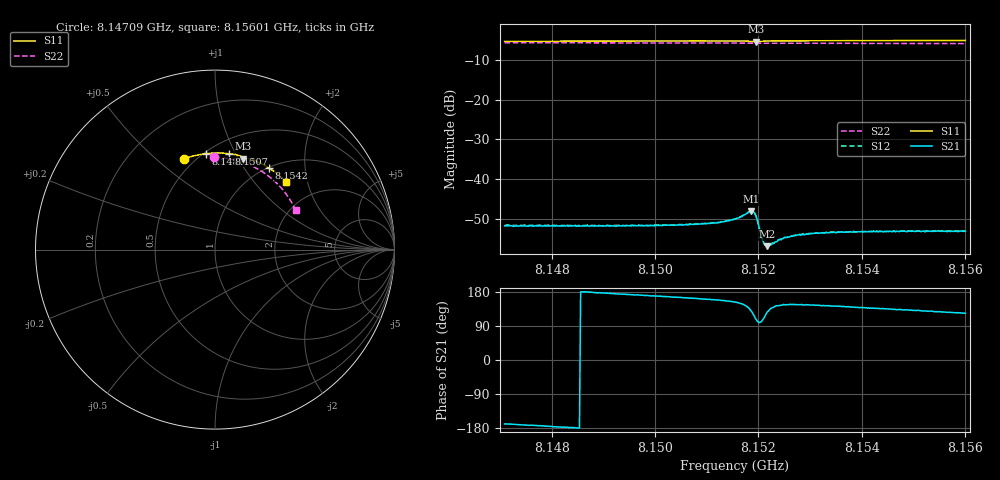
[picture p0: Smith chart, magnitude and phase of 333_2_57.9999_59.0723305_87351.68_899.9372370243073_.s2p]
#  HZ  S  RI  R  50.00
! Rohde & Schwarz Vector Network Analyzer
! Rohde-Schwarz,ZNB20-2Port,1311601062101988,3.16
! Created: UTC 3/21/2024, 1:05:11 AM
! freq[Hz]  re:S11  im:S11  re:S21  im:S21  re:S12  im:S12  re:S22  im:S22
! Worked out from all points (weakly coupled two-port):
!   401 points, 8.14709 GHz to 8.15601 GHz, reference 50 ohm
!   highest |S21| = -47.97 dB at 8.15186 GHz (marker M1); lowest = -56.7 dB at 8.15217 GHz (marker M2)
!   lowest |S11| = -5.5 dB at 8.15195 GHz (marker M3), VSWR 3.26, Z = 37.2 + j52.4 ohm
!   |S11| at or under -10 dB: nowhere
!   |S22| runs from -6.0 to -5.8 dB; largest |S21 - S12| = 0.00012
!   S11 on the Smith chart (normalised r, x): 8.14709 GHz: 0.44, +0.62; 8.14889 GHz: 0.51, +0.77; 8.1507 GHz: 0.62, +0.94; 8.1542 GHz: 1.01, +1.31; 8.15601 GHz: 1.39, +1.49
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8.147089e9  -0.1711 0.506  -0.00258 -0.000507  -0.00264 -0.000506  -0.00347 0.5134
8.148583e9  -0.0701 0.5323  -0.00261 9.66e-06  -0.00267 5.01e-05  0.0935 0.5033
8.148895e9  -0.0486 0.5352  -0.00261 0.00014  -0.00267 0.000203  0.1132 0.4987
8.150077e9  0.0336 0.5383  -0.00259 0.000536  -0.00261 0.000591  0.1857 0.4747
8.150701e9  0.077 0.5347  -0.00263 0.000794  -0.00264 0.000826  0.2222 0.4579
8.151214e9  0.113 0.529  -0.00267 0.00107  -0.00267 0.0011  0.2508 0.442
8.151548e9  0.1369 0.5232  -0.00285 0.00146  -0.00284 0.0015  0.2689 0.4307
8.15186e9  0.158 0.5104  -0.00254 0.00309  -0.00252 0.00313  0.2853 0.419
8.151905e9  0.1586 0.5076  -0.00196 0.00339  -0.00194 0.00346  0.2873 0.4172
8.15195e9  0.1577 0.5063  -0.00112 0.00337  -0.00107 0.00337  0.2894 0.4156
8.151972e9  0.1573 0.5066  -0.000767 0.00312  -0.000705 0.00317  0.2906 0.4149
8.152083e9  0.1618 0.5111  -0.000472 0.00166  -0.000478 0.00169  0.2962 0.411
8.152128e9  0.1654 0.5119  -0.000658 0.00136  -0.000663 0.00138  0.2986 0.4093
8.152173e9  0.1691 0.512  -0.000873 0.00117  -0.000878 0.00121  0.3008 0.4075
8.152217e9  0.1727 0.5118  -0.00103 0.00111  -0.00101 0.00113  0.3031 0.4057
8.152418e9  0.1879 0.5084  -0.00145 0.00104  -0.00143 0.00103  0.3131 0.3978
8.152529e9  0.1957 0.5061  -0.00155 0.00107  -0.00157 0.00105  0.3185 0.3934
8.152886e9  0.2197 0.4971  -0.00168 0.00116  -0.0017 0.00124  0.3354 0.3783
8.153042e9  0.2297 0.4928  -0.00172 0.00121  -0.00171 0.00124  0.3426 0.3715
8.154202e9  0.3007 0.4551  -0.00161 0.0015  -0.00162 0.00157  0.3908 0.3169
8.154536e9  0.3202 0.4422  -0.00158 0.00159  -0.00157 0.00162  0.4034 0.2999
8.156008e9  0.3975 0.377  -0.00124 0.00189  -0.00123 0.00189  0.4487 0.2205
